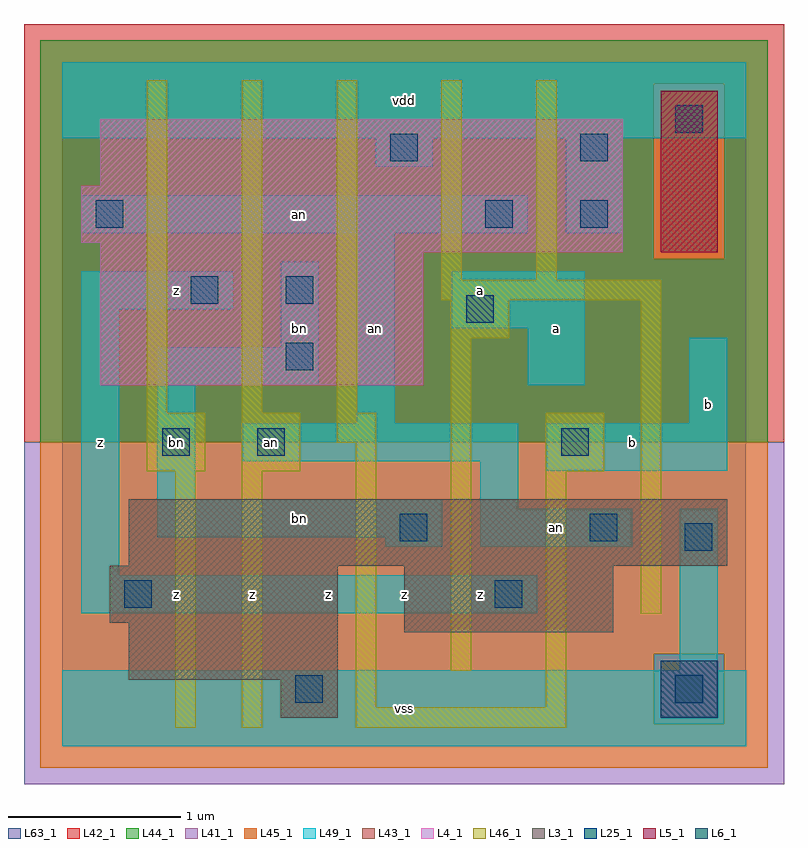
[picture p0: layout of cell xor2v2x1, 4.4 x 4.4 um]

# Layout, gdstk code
import gdstk
lib = gdstk.Library(unit=1e-6, precision=1e-09)
def R(c, l, rs):  # rectangles x0, y0, x1, y1
    for r in rs: c.add(gdstk.rectangle(r[:2], r[2:], *l))
def A(c, l, x, y, w, h, nx, ny, dx, dy):  # array of equal rectangles
    R(c, l, [(x+i*dx, y+j*dy, x+i*dx+w, y+j*dy+h) for i in range(nx) for j in range(ny)])
L3_1 = (3, 1)
L4_1 = (4, 1)
L5_1 = (5, 1)
L6_1 = (6, 1)
L25_1 = (25, 1)
L41_1 = (41, 1)
L42_1 = (42, 1)
L43_1 = (43, 1)
L44_1 = (44, 1)
L45_1 = (45, 1)
L46_1 = (46, 1)
L49_1 = (49, 1)
L63_1 = (63, 1)

xor2v2x1 = lib.new_cell('xor2v2x1')
R(xor2v2x1, L3_1, [(1.265,0.165,1.595,0.385), (0.385,0.385,1.595,0.715), (1.98,0.66,3.19,1.045), (0.275,0.715,1.595,1.045), (0.385,1.045,3.85,1.43)])
R(xor2v2x1, L4_1, [(0.22,2.09,2.09,2.86), (0.22,2.86,3.245,2.915), (0.11,2.915,3.245,3.245), (0.22,3.245,3.245,3.63)])
R(xor2v2x1, L5_1, [(3.465,2.86,3.795,3.795)])
R(xor2v2x1, L6_1, [(3.465,0.165,3.795,0.495)])
R(xor2v2x1, L25_1, [(1.35,0.25,1.51,0.41), (3.55,0.25,3.71,0.41), (0.36,0.8,0.52,0.96), (2.505,0.8,2.665,0.96), (3.605,1.13,3.765,1.29), (1.955,1.185,2.115,1.345), (3.055,1.185,3.215,1.345), (0.58,1.68,0.74,1.84), (1.13,1.68,1.29,1.84), (2.89,1.68,3.05,1.84), (1.295,2.175,1.455,2.335), (2.34,2.45,2.5,2.61), (0.745,2.56,0.905,2.72), (1.295,2.56,1.455,2.72), (0.195,3,0.355,3.16), (2.45,3,2.61,3.16), (3,3,3.16,3.16), (1.9,3.385,2.06,3.545), (3,3.385,3.16,3.545), (3.55,3.55,3.71,3.71)])
R(xor2v2x1, L41_1, [(-0.22,-0.22,4.18,1.76)])
R(xor2v2x1, L42_1, [(-0.22,1.76,4.18,4.18)])
R(xor2v2x1, L43_1, [(1.265,0.165,1.595,0.385), (3.465,0.165,3.795,0.495), (0.385,0.385,1.595,0.715), (1.98,0.66,3.19,1.045), (0.275,0.715,1.595,1.045), (0.385,1.045,3.85,1.43), (0.22,2.09,2.09,2.86), (0.22,2.86,3.245,2.915), (3.465,2.86,3.795,3.795), (0.11,2.915,3.245,3.245), (0.22,3.245,3.245,3.63)])
R(xor2v2x1, L44_1, [(3.425,0.125,3.835,0.535), (-0.125,1.76,4.085,2.82), (-0.125,2.82,3.425,3.835), (3.835,2.82,4.085,3.835), (-0.125,3.835,4.085,4.085)])
R(xor2v2x1, L45_1, [(-0.125,-0.125,4.085,0.125), (-0.125,0.125,3.425,0.535), (3.835,0.125,4.085,0.535), (-0.125,0.535,4.085,1.76), (3.425,2.82,3.835,3.835)])
A(xor2v2x1, L46_1, 0.49, 1.93, 0.12, 1.925, 3, 1, 0.55, 0)
R(xor2v2x1, L46_1, [(0.655,0.105,0.775,1.59), (1.04,0.105,1.16,1.59), (1.7,0.105,2.92,0.225), (1.7,0.225,1.82,1.755), (2.8,0.225,2.92,1.59), (2.25,0.435,2.37,2.36), (3.35,0.765,3.47,2.58), (0.49,1.59,0.83,1.93), (1.04,1.59,1.38,1.93), (2.8,1.59,3.14,1.93), (1.59,1.755,1.82,1.93), (2.25,2.36,2.59,2.58), (2.195,2.58,3.47,2.7), (2.195,2.7,2.315,3.855), (2.745,2.7,2.865,3.855)])
R(xor2v2x1, L49_1, [(0,0,3.96,0.44), (3.575,0.44,3.795,1.375), (0.11,0.77,2.75,0.99), (0.11,0.99,0.33,2.53), (1.87,1.155,2.2,1.21), (2.42,1.155,3.3,1.375), (0.55,1.21,2.2,1.43), (2.42,1.375,2.64,1.65), (0.55,1.43,0.77,2.09), (2.805,1.595,3.85,1.87), (1.045,1.65,2.64,1.87), (1.705,1.87,1.925,2.97), (3.63,1.87,3.85,2.365), (0.55,2.09,1.485,2.31), (2.695,2.09,3.025,2.42), (1.265,2.31,1.485,2.805), (2.255,2.42,3.025,2.75), (0.11,2.53,0.99,2.75), (0.11,2.97,2.695,3.19), (2.915,2.97,3.245,3.52), (1.815,3.355,2.145,3.52), (0,3.52,3.96,3.96)])
R(xor2v2x1, L63_1, [(0,0,3.96,3.96)])
xor2v2x1.add(gdstk.Label('bn', (0.66,1.76), layer=49, texttype=1))
xor2v2x1.add(gdstk.Label('an', (1.21,1.76), layer=49, texttype=1))
xor2v2x1.add(gdstk.Label('z', (0.66,0.88), layer=49, texttype=1))
xor2v2x1.add(gdstk.Label('z', (0.22,1.76), layer=49, texttype=1))
xor2v2x1.add(gdstk.Label('bn', (0.66,1.76), layer=49, texttype=1))
xor2v2x1.add(gdstk.Label('z', (0.66,2.64), layer=49, texttype=1))
xor2v2x1.add(gdstk.Label('z', (1.54,0.88), layer=49, texttype=1))
xor2v2x1.add(gdstk.Label('z', (1.1,0.88), layer=49, texttype=1))
xor2v2x1.add(gdstk.Label('bn', (1.375,2.42), layer=49, texttype=1))
xor2v2x1.add(gdstk.Label('an', (1.815,2.42), layer=49, texttype=1))
xor2v2x1.add(gdstk.Label('vss', (1.98,0.22), layer=49, texttype=1))
xor2v2x1.add(gdstk.Label('z', (2.42,0.88), layer=49, texttype=1))
xor2v2x1.add(gdstk.Label('z', (1.98,0.88), layer=49, texttype=1))
xor2v2x1.add(gdstk.Label('bn', (1.375,1.32), layer=49, texttype=1))
xor2v2x1.add(gdstk.Label('a', (2.42,2.64), layer=49, texttype=1))
xor2v2x1.add(gdstk.Label('a', (2.86,2.42), layer=49, texttype=1))
xor2v2x1.add(gdstk.Label('an', (1.375,3.08), layer=49, texttype=1))
xor2v2x1.add(gdstk.Label('vdd', (1.98,3.74), layer=49, texttype=1))
xor2v2x1.add(gdstk.Label('an', (2.86,1.265), layer=49, texttype=1))
xor2v2x1.add(gdstk.Label('b', (3.3,1.76), layer=49, texttype=1))
xor2v2x1.add(gdstk.Label('b', (3.74,1.98), layer=49, texttype=1))

lib.write_gds('xor2v2x1.gds')
